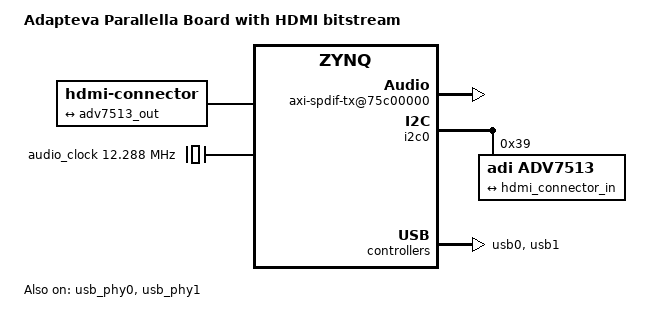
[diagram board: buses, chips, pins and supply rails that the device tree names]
/*
 * Copyright (c) 2014 SUSE LINUX Products GmbH
 * Copyright (c) 2015 SUSE Linux GmbH
 *
 * This software is licensed under the terms of the GNU General Public
 * License version 2, as published by the Free Software Foundation, and
 * may be copied, distributed, and modified under those terms.
 *
 * This program is distributed in the hope that it will be useful,
 * but WITHOUT ANY WARRANTY; without even the implied warranty of
 * MERCHANTABILITY or FITNESS FOR A PARTICULAR PURPOSE.  See the
 * GNU General Public License for more details.
 */
/dts-v1/;
#include "zynq-parallella1.dtsi"

/ {
	model = "Adapteva Parallella Board with HDMI bitstream";

	hdmi-connector {
		compatible = "hdmi-connector";
		type = "d";
		label = "hdmi";

		port {
			hdmi_connector_in: endpoint {
				remote-endpoint = <&adv7513_out>;
			};
		};
	};
};

&usb_phy0 {
	status = "okay";
};

&usb_phy1 {
	status = "okay";
};

&fpga {
	axi_vdma: axi-vdma@43000000 {
		compatible = "xlnx,axi-vdma-1.00.a";
		reg = <0x43000000 0x1000>;
		#dma-cells = <1>;
		xlnx,num-fstores = <3>;
		xlnx,include-sg = <0>;
		xlnx,flush-fsync = <2>;

		dma-channel@43000000 {
			compatible = "xlnx,axi-vdma-mm2s-channel";
			interrupt-parent = <&intc>;
			interrupts = <0 59 4>;
			xlnx,datawidth = <64>;
			xlnx,include-dre = <0>;
			xlnx,genlock-mode = <0>;
		};
	};

	axi_clkgen: axi-clkgen@66000000 {
		compatible = "adi,axi-clkgen-1.00.a";
		reg = <0x66000000 0x10000>;
		#clock-cells = <0>;
		clocks = <&clkc 17>;
	};

	audio_clock: audio-clock {
		compatible = "fixed-clock";
		#clock-cells = <0>;
		clock-frequency = <12288000>;
	};

	axi-spdif-tx@75c00000 {
		compatible = "adi,axi-spdif-tx-1.00.a";
		reg = <0x75c00000 0x1000>;
		clocks = <&clkc 15>, <&audio_clock>;
		clock-names = "axi", "ref";
		dmas = <&dmac_s 0>;
		dma-names = "tx";
	};
};

&i2c0 {
	adv7513: hdmi@39 {
		compatible = "adi,adv7513";
		reg = <0x39>;
		adi,input-depth = <8>;
		adi,input-colorspace = "rgb";
		adi,input-clock = "1x";
		adi,input-style = <2>;
		adi,input-justification = "left";
		adi,clock-delay = <3>;

		ports {
			#address-cells = <1>;
			#size-cells = <0>;

			port@0 {
				reg = <0>;

				adv7513_in: endpoint {
					/*remote-endpoint = <&dpi_out>;*/
				};
			};

			port@1 {
				reg = <1>;

				adv7513_out: endpoint {
					remote-endpoint = <&hdmi_connector_in>;
				};
			};
		};
	};
};

&usb0 {
	status = "okay";
};

&usb1 {
	status = "okay";
};
